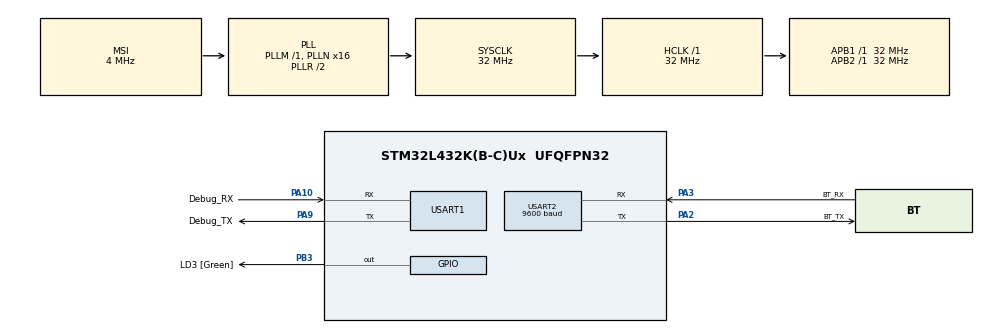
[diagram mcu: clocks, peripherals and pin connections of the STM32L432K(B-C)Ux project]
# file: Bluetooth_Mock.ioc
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Mcu.Family=STM32L4
Mcu.Name=STM32L432K(B-C)Ux
Mcu.Package=UFQFPN32
NVIC.PriorityGroup=NVIC_PRIORITYGROUP_4
PA10.GPIO_Label=Debug_RX
PA10.Mode=Asynchronous
PA10.Signal=USART1_RX
PA13\ (JTMS-SWDIO).GPIO_Label=SWDIO
PA13\ (JTMS-SWDIO).Mode=Serial_Wire
PA13\ (JTMS-SWDIO).Signal=SYS_JTMS-SWDIO
PA14\ (JTCK-SWCLK).GPIO_Label=SWCLK
PA14\ (JTCK-SWCLK).Mode=Serial_Wire
PA14\ (JTCK-SWCLK).Signal=SYS_JTCK-SWCLK
PA2.GPIO_Label=BT_TX
PA2.Mode=Asynchronous
PA2.Signal=USART2_TX
PA3.GPIO_Label=BT_RX
PA3.Mode=Asynchronous
PA3.Signal=USART2_RX
PA9.GPIO_Label=Debug_TX
PA9.Mode=Asynchronous
PA9.Signal=USART1_TX
PB3\ (JTDO-TRACESWO).GPIO_Label=LD3 [Green]
PB3\ (JTDO-TRACESWO).Signal=GPIO_Output
PC14-OSC32_IN\ (PC14).Mode=LSE-External-Oscillator
PC14-OSC32_IN\ (PC14).Signal=RCC_OSC32_IN
PC15-OSC32_OUT\ (PC15).Mode=LSE-External-Oscillator
PC15-OSC32_OUT\ (PC15).Signal=RCC_OSC32_OUT
ProjectManager.HeapSize=0x200
ProjectManager.StackSize=0x400
ProjectManager.TargetToolchain=STM32CubeIDE
RCC.AHBFreq_Value=32000000
RCC.APB1Freq_Value=32000000
RCC.APB1TimFreq_Value=32000000
RCC.APB2Freq_Value=32000000
RCC.APB2TimFreq_Value=32000000
RCC.CortexFreq_Value=32000000
RCC.HCLKFreq_Value=32000000
RCC.HSE_VALUE=8000000
RCC.HSI16_VALUE=16000000
RCC.HSI48_VALUE=48000000
RCC.HSI_VALUE=16000000
RCC.MSI_VALUE=4000000
RCC.PLLMUL=RCC_PLLMUL_4
RCC.PLLN=16
RCC.SYSCLKFreq_VALUE=32000000
RCC.SYSCLKSource=RCC_SYSCLKSOURCE_PLLCLK
RCC.VCOOutputFreq_Value=64000000
USART1.VirtualMode-Asynchronous=VM_ASYNC
USART2.BaudRate=9600
USART2.VirtualMode-Asynchronous=VM_ASYNC
board=NUCLEO-L432KC

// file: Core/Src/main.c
/* USER CODE BEGIN Header */
/**
  ******************************************************************************
  * @file           : main.c
  * @brief          : Main program body
  ******************************************************************************
  * @attention
  *
  * Copyright (c) 2022 STMicroelectronics.
  * All rights reserved.
  *
  * This software is licensed under terms that can be found in the LICENSE file
  * in the root directory of this software component.
  * If no LICENSE file comes with this software, it is provided AS-IS.
  *
  ******************************************************************************
  */
/* USER CODE END Header */
#include "main.h"

/* USER CODE BEGIN Includes */
#include <stdio.h>
#include <stdlib.h>
#include "retarget.h"
#include "bluetooth_service.h"
/* USER CODE END Includes */

 UART_HandleTypeDef huart1;
UART_HandleTypeDef huart2;

void SystemClock_Config(void);
static void MX_GPIO_Init(void);
static void MX_USART2_UART_Init(void);
static void MX_USART1_UART_Init(void);

/* USER CODE BEGIN 0 */
int rand_int_range(int min, int max){
   return min + rand() / (RAND_MAX / (max - min + 1) + 1);
}

float rand_float_range(float lower, float upper) {
  return lower + (float)rand()/(float)(RAND_MAX/(upper - lower));
}
/* USER CODE END 0 */

int main(void)
{

  /* MCU Configuration--------------------------------------------------------*/

  /* Reset of all peripherals, Initializes the Flash interface and the Systick. */
  HAL_Init();

  /* Configure the system clock */
  SystemClock_Config();

  /* Initialize all configured peripherals */
  MX_GPIO_Init();
  MX_USART2_UART_Init();
  MX_USART1_UART_Init();
  /* USER CODE BEGIN 2 */

  RetargetInit(&huart1);

  float rand_accumulated_impulse;
  uint8_t rand_angle_buf_size;
  float rand_angles[5];
  uint8_t rand_max_force_buf_size;
  float rand_max_forces[5];

  uint8_t i;

  /* USER CODE END 2 */

  /* Infinite loop */
  while (1)
  {

    HAL_GPIO_TogglePin(LD3_GPIO_Port, LD3_Pin);

    rand_accumulated_impulse = rand_float_range(50, 500);

    rand_angle_buf_size = rand_int_range(0, 5);
    for (i = 0; i < rand_angle_buf_size; i++) {
      rand_angles[i] = rand_float_range(0, 360);
    }

    rand_max_force_buf_size = rand_int_range(0, 5);
    for (i = 0; i < rand_max_force_buf_size; i++) {
      rand_max_forces[i] = rand_float_range(2000, 8000);
    }

    printf("Sending.\r\n");

    bt_send_str_float(&huart2, BT_IMPULSE_CMD, rand_accumulated_impulse);
    bt_send_str_float_array(&huart2, BT_ANGLE_ROLL_CMD, rand_angles, rand_angle_buf_size);
    bt_send_str_float_array(&huart2, BT_MAX_FORCE_CMD, rand_max_forces, rand_max_force_buf_size);

    HAL_Delay(1000);

  }
}

void SystemClock_Config(void)
{
  RCC_OscInitTypeDef RCC_OscInitStruct = {0};
  RCC_ClkInitTypeDef RCC_ClkInitStruct = {0};

  /** Configure the main internal regulator output voltage
  */
  if (HAL_PWREx_ControlVoltageScaling(PWR_REGULATOR_VOLTAGE_SCALE1) != HAL_OK)
  {
    Error_Handler();
  }

  /** Configure LSE Drive Capability
  */
  HAL_PWR_EnableBkUpAccess();
  __HAL_RCC_LSEDRIVE_CONFIG(RCC_LSEDRIVE_LOW);

  /** Initializes the RCC Oscillators according to the specified parameters
  * in the RCC_OscInitTypeDef structure.
  */
  RCC_OscInitStruct.OscillatorType = RCC_OSCILLATORTYPE_LSE|RCC_OSCILLATORTYPE_MSI;
  RCC_OscInitStruct.LSEState = RCC_LSE_ON;
  RCC_OscInitStruct.MSIState = RCC_MSI_ON;
  RCC_OscInitStruct.MSICalibrationValue = 0;
  RCC_OscInitStruct.MSIClockRange = RCC_MSIRANGE_6;
  RCC_OscInitStruct.PLL.PLLState = RCC_PLL_ON;
  RCC_OscInitStruct.PLL.PLLSource = RCC_PLLSOURCE_MSI;
  RCC_OscInitStruct.PLL.PLLM = 1;
  RCC_OscInitStruct.PLL.PLLN = 16;
  RCC_OscInitStruct.PLL.PLLP = RCC_PLLP_DIV7;
  RCC_OscInitStruct.PLL.PLLQ = RCC_PLLQ_DIV2;
  RCC_OscInitStruct.PLL.PLLR = RCC_PLLR_DIV2;
  if (HAL_RCC_OscConfig(&RCC_OscInitStruct) != HAL_OK)
  {
    Error_Handler();
  }

  /** Initializes the CPU, AHB and APB buses clocks
  */
  RCC_ClkInitStruct.ClockType = RCC_CLOCKTYPE_HCLK|RCC_CLOCKTYPE_SYSCLK
                              |RCC_CLOCKTYPE_PCLK1|RCC_CLOCKTYPE_PCLK2;
  RCC_ClkInitStruct.SYSCLKSource = RCC_SYSCLKSOURCE_PLLCLK;
  RCC_ClkInitStruct.AHBCLKDivider = RCC_SYSCLK_DIV1;
  RCC_ClkInitStruct.APB1CLKDivider = RCC_HCLK_DIV1;
  RCC_ClkInitStruct.APB2CLKDivider = RCC_HCLK_DIV1;

  if (HAL_RCC_ClockConfig(&RCC_ClkInitStruct, FLASH_LATENCY_1) != HAL_OK)
  {
    Error_Handler();
  }

  /** Enable MSI Auto calibration
  */
  HAL_RCCEx_EnableMSIPLLMode();
}

static void MX_USART1_UART_Init(void)
{

  huart1.Instance = USART1;
  huart1.Init.BaudRate = 115200;
  huart1.Init.WordLength = UART_WORDLENGTH_8B;
  huart1.Init.StopBits = UART_STOPBITS_1;
  huart1.Init.Parity = UART_PARITY_NONE;
  huart1.Init.Mode = UART_MODE_TX_RX;
  huart1.Init.HwFlowCtl = UART_HWCONTROL_NONE;
  huart1.Init.OverSampling = UART_OVERSAMPLING_16;
  huart1.Init.OneBitSampling = UART_ONE_BIT_SAMPLE_DISABLE;
  huart1.AdvancedInit.AdvFeatureInit = UART_ADVFEATURE_NO_INIT;
  if (HAL_UART_Init(&huart1) != HAL_OK)
  {
    Error_Handler();
  }

}

static void MX_USART2_UART_Init(void)
{

  huart2.Instance = USART2;
  huart2.Init.BaudRate = 9600;
  huart2.Init.WordLength = UART_WORDLENGTH_8B;
  huart2.Init.StopBits = UART_STOPBITS_1;
  huart2.Init.Parity = UART_PARITY_NONE;
  huart2.Init.Mode = UART_MODE_TX_RX;
  huart2.Init.HwFlowCtl = UART_HWCONTROL_NONE;
  huart2.Init.OverSampling = UART_OVERSAMPLING_16;
  huart2.Init.OneBitSampling = UART_ONE_BIT_SAMPLE_DISABLE;
  huart2.AdvancedInit.AdvFeatureInit = UART_ADVFEATURE_NO_INIT;
  if (HAL_UART_Init(&huart2) != HAL_OK)
  {
    Error_Handler();
  }

}

static void MX_GPIO_Init(void)
{
  GPIO_InitTypeDef GPIO_InitStruct = {0};

  /* GPIO Ports Clock Enable */
  __HAL_RCC_GPIOC_CLK_ENABLE();
  __HAL_RCC_GPIOA_CLK_ENABLE();
  __HAL_RCC_GPIOB_CLK_ENABLE();

  /*Configure GPIO pin Output Level */
  HAL_GPIO_WritePin(LD3_GPIO_Port, LD3_Pin, GPIO_PIN_RESET);

  /*Configure GPIO pin : LD3_Pin */
  GPIO_InitStruct.Pin = LD3_Pin;
  GPIO_InitStruct.Mode = GPIO_MODE_OUTPUT_PP;
  GPIO_InitStruct.Pull = GPIO_NOPULL;
  GPIO_InitStruct.Speed = GPIO_SPEED_FREQ_LOW;
  HAL_GPIO_Init(LD3_GPIO_Port, &GPIO_InitStruct);

}

void Error_Handler(void)
{
  __disable_irq();
  while (1)
  {
  }
}
